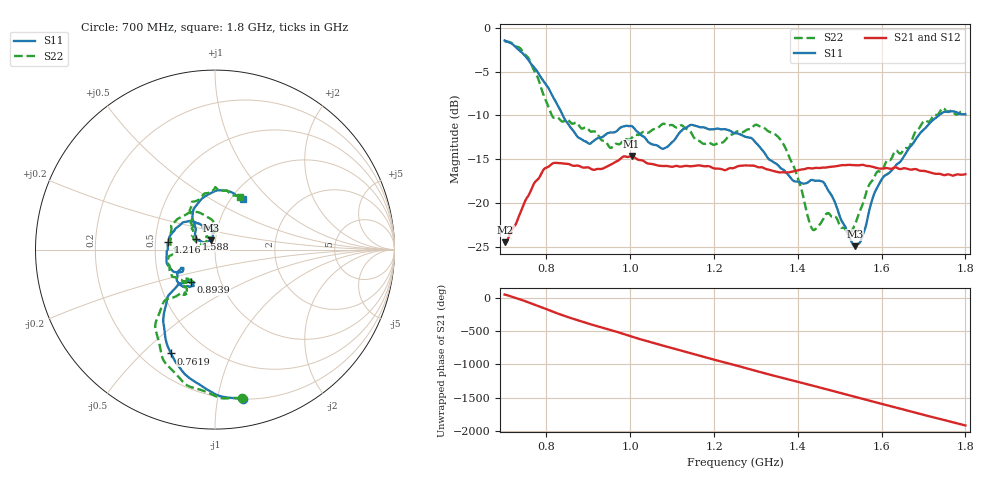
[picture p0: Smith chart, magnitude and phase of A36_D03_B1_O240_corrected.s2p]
! Created with skrf 1.9.0 (http://scikit-rf.org).
# Hz S RI R 50.0
!freq ReS11 ImS11 ReS21 ImS21 ReS12 ImS12 ReS22 ImS22
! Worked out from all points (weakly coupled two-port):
!   1601 points, 700 MHz to 1.8 GHz, reference 50 ohm
!   highest |S21| = -14.65 dB at 1.003 GHz (marker M1); lowest = -24.5 dB at 701.4 MHz (marker M2)
!   lowest |S11| = -25.0 dB at 1.536 GHz (marker M3), VSWR 1.12, Z = 47.5 + j4.94 ohm
!   |S11| at or under -10 dB: 838.9 MHz to 1.737 GHz (897.7 MHz wide, 69.7 % of centre)
!   |S22| runs from -23.6 to -1.5 dB; largest |S21 - S12| = 0.0034
!   S11 on the Smith chart (normalised r, x): 700 MHz: 0.20, -1.19; 761.9 MHz: 0.32, -0.61; 893.9 MHz: 0.72, -0.28; 1.216 GHz: 0.59, +0.05; 1.588 GHz: 0.81, +0.10; 1.8 GHz: 1.13, +0.71
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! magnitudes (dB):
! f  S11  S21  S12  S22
! 700 MHz  -1.4  -24.5  -24.3  -1.5
! 701.4 MHz  -1.5  -24.5  -24.1  -1.5
! 761.9 MHz  -4.0  -18.7  -18.6  -3.9
! 814.8 MHz  -7.8  -15.5  -15.6  -10.2
! 883.6 MHz  -12.7  -15.9  -15.8  -11.5
! 893.9 MHz  -13.0  -16.0  -16.0  -11.4
! 953 MHz  -11.9  -15.6  -15.6  -13.7
! 1.003 GHz  -11.2  -14.6  -14.8  -12.6
! 1.067 GHz  -13.5  -15.7  -15.7  -11.4
! 1.143 GHz  -11.1  -15.8  -15.8  -11.8
! 1.216 GHz  -11.6  -16.1  -16.1  -13.1
! 1.25 GHz  -12.0  -16.0  -15.9  -12.0
! 1.357 GHz  -15.9  -16.5  -16.5  -12.7
! 1.394 GHz  -17.6  -16.4  -16.3  -16.4
! 1.434 GHz  -17.4  -16.1  -16.0  -22.9
! 1.464 GHz  -17.9  -16.0  -15.9  -21.5
! 1.536 GHz  -25.0  -15.7  -15.7  -22.5
! 1.554 GHz  -23.8  -15.7  -15.7  -20.3
! 1.588 GHz  -18.4  -16.0  -16.0  -16.6
! 1.617 GHz  -16.6  -16.1  -16.0  -15.1
! 1.74 GHz  -9.9  -16.7  -16.7  -9.6
! 1.8 GHz  -9.9  -16.7  -16.7  -9.9
